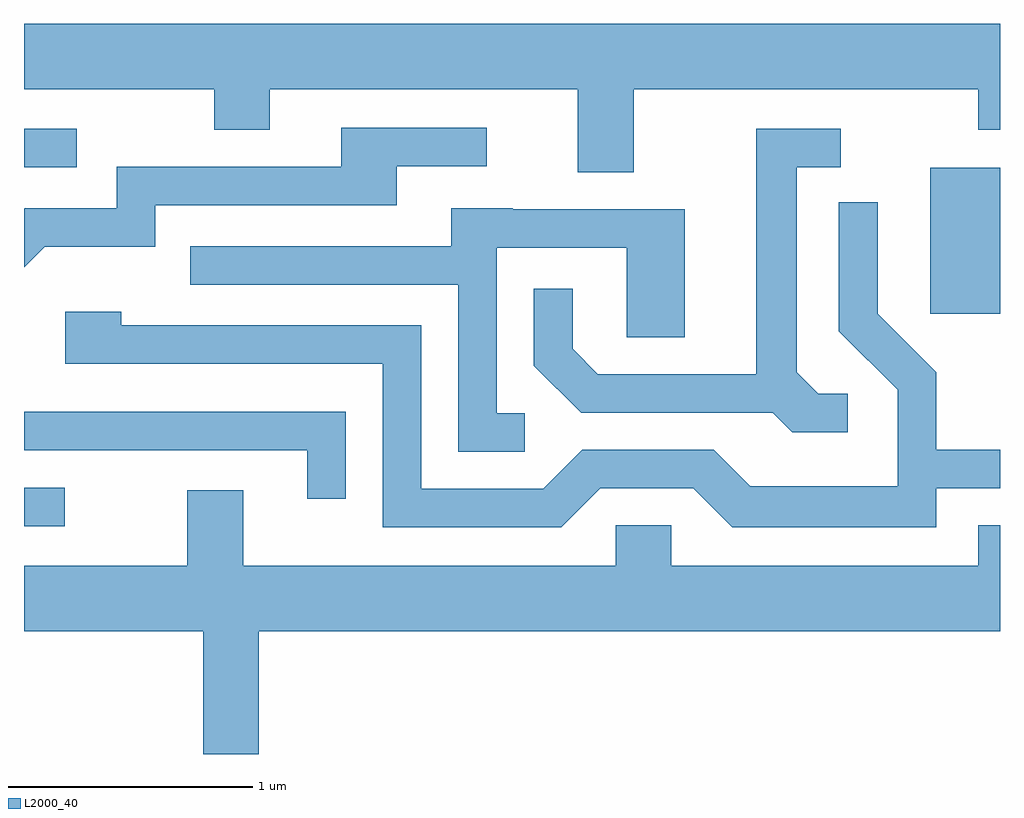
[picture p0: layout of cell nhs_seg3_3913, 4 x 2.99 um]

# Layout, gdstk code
import gdstk
lib = gdstk.Library(unit=1e-6, precision=1e-09)
def R(c, l, rs):  # rectangles x0, y0, x1, y1
    for r in rs: c.add(gdstk.rectangle(r[:2], r[2:], *l))
def P(c, l, *ps):  # polygons
    for p in ps: c.add(gdstk.Polygon(p, *l))
L2000_40 = (2000, 40)

nhs_seg3_3913 = lib.new_cell('nhs_seg3_3913')
R(nhs_seg3_3913, L2000_40, [(299.611,1190.826,299.778,1190.984), (303.326,1191.696,303.611,1192.294), (299.611,1192.296,299.828,1192.454)])
P(nhs_seg3_3913, L2000_40, [(302.109,1192.616),(303.521,1192.616),(303.521,1192.451),(303.611,1192.451),(303.611,1192.884),(299.611,1192.884),(299.611,1192.616),(300.391,1192.616),(300.391,1192.451),(300.619,1192.451),(300.619,1192.616),(301.881,1192.616),(301.881,1192.276),(302.109,1192.276)],
  [(299.697,1191.971),(300.149,1191.971),(300.149,1192.141),(301.139,1192.141),(301.139,1192.301),(301.508,1192.301),(301.508,1192.459),(300.911,1192.459),(300.911,1192.299),(299.991,1192.299),(299.991,1192.129),(299.614,1192.129),(299.611,1192.126),(299.611,1191.886)],
  [(302.988,1191.369),(302.867,1191.369),(302.779,1191.457),(302.779,1192.296),(302.958,1192.296),(302.958,1192.454),(302.611,1192.454),(302.611,1191.449),(301.962,1191.449),(301.859,1191.552),(301.859,1191.798),(301.701,1191.798),(301.701,1191.484),(301.894,1191.291),(302.679,1191.291),(302.759,1191.211),(302.988,1191.211)],
  [(301.972,1190.981),(302.354,1190.981),(302.514,1190.821),(303.349,1190.821),(303.349,1190.981),(303.611,1190.981),(303.611,1191.139),(303.349,1191.139),(303.349,1191.457),(303.109,1191.697),(303.109,1192.153),(302.951,1192.153),(302.951,1191.624),(303.191,1191.384),(303.191,1190.989),(302.587,1190.989),(302.437,1191.139),(301.899,1191.139),(301.739,1190.979),(301.239,1190.979),(301.239,1191.649),(300.009,1191.649),(300.009,1191.704),(299.781,1191.704),(299.781,1191.491),(301.081,1191.491),(301.081,1190.821),(301.812,1190.821)],
  [(301.663,1191.289),(301.549,1191.289),(301.549,1191.966),(302.081,1191.966),(302.081,1191.601),(302.319,1191.601),(302.319,1192.124),(301.615,1192.124),(301.615,1192.129),(301.361,1192.129),(301.361,1191.974),(300.293,1191.974),(300.293,1191.816),(301.391,1191.816),(301.391,1191.131),(301.663,1191.131)],
  [(300.929,1191.294),(299.611,1191.294),(299.611,1191.136),(300.771,1191.136),(300.771,1190.938),(300.929,1190.938)],
  [(300.574,1190.396),(303.611,1190.396),(303.611,1190.829),(303.521,1190.829),(303.521,1190.664),(302.264,1190.664),(302.264,1190.829),(302.036,1190.829),(302.036,1190.664),(300.509,1190.664),(300.509,1190.974),(300.281,1190.974),(300.281,1190.664),(299.611,1190.664),(299.611,1190.396),(300.346,1190.396),(300.346,1189.892),(300.574,1189.892)])

lib.write_gds('nhs_seg3_3913.gds')
